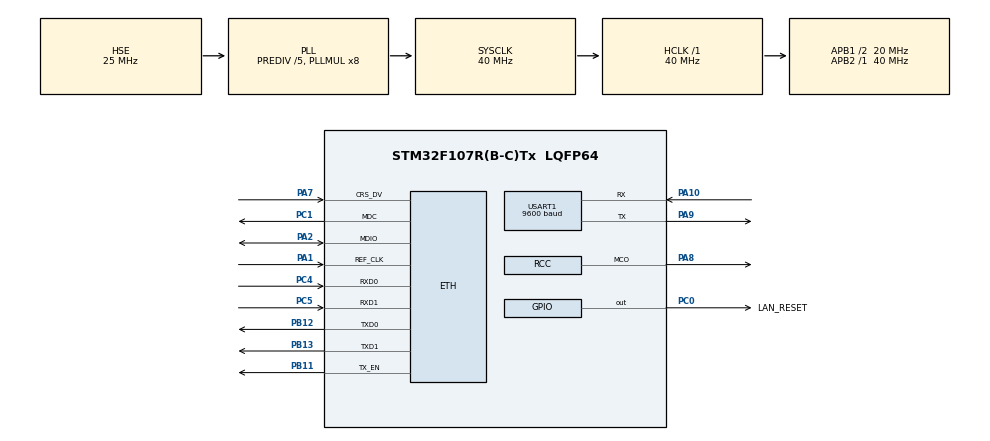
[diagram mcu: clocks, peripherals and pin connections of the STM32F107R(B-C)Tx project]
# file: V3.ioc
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Dma.Request0=USART1_TX
Dma.USART1_TX.0.Direction=DMA_MEMORY_TO_PERIPH
Dma.USART1_TX.0.Instance=DMA1_Channel4
Dma.USART1_TX.0.MemDataAlignment=DMA_MDATAALIGN_BYTE
Dma.USART1_TX.0.MemInc=DMA_MINC_ENABLE
Dma.USART1_TX.0.Mode=DMA_NORMAL
Dma.USART1_TX.0.PeriphDataAlignment=DMA_PDATAALIGN_BYTE
Dma.USART1_TX.0.PeriphInc=DMA_PINC_DISABLE
Dma.USART1_TX.0.Priority=DMA_PRIORITY_LOW
ETH.MACAddr=00\:80\:E1\:00\:00\:CC
ETH.MediaInterface=ETH_MEDIA_INTERFACE_RMII
ETH.PhyAddress=0
FREERTOS.INCLUDE_eTaskGetState=1
FREERTOS.INCLUDE_pcTaskGetTaskName=1
FREERTOS.INCLUDE_uxTaskGetStackHighWaterMark=1
FREERTOS.INCLUDE_vTaskCleanUpResources=1
FREERTOS.INCLUDE_vTaskDelayUntil=1
FREERTOS.INCLUDE_xQueueGetMutexHolder=1
FREERTOS.INCLUDE_xSemaphoreGetMutexHolder=1
FREERTOS.INCLUDE_xTaskAbortDelay=1
FREERTOS.INCLUDE_xTaskGetCurrentTaskHandle=1
FREERTOS.INCLUDE_xTaskGetHandle=1
FREERTOS.Queues01=UART_q,200,uint8_t,0,Dynamic,NULL,NULL;ETH_client_q,16,uint32_t,0,Dynamic,NULL,NULL
FREERTOS.Tasks01=defaultTask,0,128,StartDefaultTask,Default,NULL,Dynamic,NULL,NULL;ETH_epoch_clien,-3,256,ETH_epoch_client_f,Default,NULL,Dynamic,NULL,NULL;UART_task,-3,128,UART_f,Default,NULL,Dynamic,NULL,NULL;ETH_cmd_client_,-3,256,ETH_cmd_client_f,Default,NULL,Dynamic,NULL,NULL
FREERTOS.configTOTAL_HEAP_SIZE=12000
FREERTOS.configUSE_COUNTING_SEMAPHORES=1
FREERTOS.configUSE_RECURSIVE_MUTEXES=1
LWIP.ARP_QUEUEING=1
LWIP.ARP_QUEUE_LEN=0
LWIP.CHECKSUM_GEN_ICMP=1
LWIP.CHECKSUM_GEN_TCP=1
LWIP.CHECKSUM_GEN_UDP=1
LWIP.DEFAULT_RAW_RECVMBOX_SIZE=6
LWIP.GATEWAY_ADDRESS=172.016.001.001
LWIP.IP_ADDRESS=172.016.001.002
LWIP.LWIP_ALLOW_MEM_FREE_FROM_OTHER_CONTEXT=1
LWIP.LWIP_DBG_MIN_LEVEL=LWIP_DBG_LEVEL_ALL
LWIP.LWIP_DHCP=0
LWIP.LWIP_MPU_COMPATIBLE=1
LWIP.LWIP_NETIF_LOOPBACK=1
LWIP.LWIP_TCPIP_CORE_LOCKING=1
LWIP.LWIP_TCPIP_CORE_LOCKING_INPUT=1
LWIP.MEMP_MEM_MALLOC=0
LWIP.MEMP_OVERFLOW_CHECK=1
LWIP.MEMP_SANITY_CHECK=1
LWIP.MEM_LIBC_MALLOC=0
LWIP.MEM_SIZE=1600
LWIP.NETMASK_ADDRESS=255.255.255.000
LWIP.PBUF_POOL_BUFSIZE=1024
LWIP.SLIPIF_THREAD_STACKSIZE=512
LWIP.TCPIP_THREAD_STACKSIZE=512
LWIP.Version=v2.0.0_Cube
Mcu.Family=STM32F1
Mcu.Name=STM32F107R(B-C)Tx
Mcu.Package=LQFP64
NVIC.DMA1_Channel4_IRQn=true\:5\:0\:false\:false\:true\:true\:false\:true
NVIC.ETH_IRQn=true\:5\:0\:false\:false\:true\:true\:false\:true
NVIC.PriorityGroup=NVIC_PRIORITYGROUP_4
NVIC.TIM1_UP_IRQn=true\:0\:0\:false\:false\:true\:false\:false\:true
NVIC.TimeBase=TIM1_UP_IRQn
NVIC.TimeBaseIP=TIM1
NVIC.USART1_IRQn=true\:5\:0\:false\:false\:true\:true\:true\:true
PA1.Mode=RMII
PA1.Signal=ETH_REF_CLK
PA10.Mode=Asynchronous
PA10.Signal=USART1_RX
PA13.Mode=Serial_Wire
PA13.Signal=SYS_JTMS-SWDIO
PA14.Mode=Serial_Wire
PA14.Signal=SYS_JTCK-SWCLK
PA2.Mode=RMII
PA2.Signal=ETH_MDIO
PA7.Mode=RMII
PA7.Signal=ETH_CRS_DV
PA8.Mode=Clock-out
PA8.Signal=RCC_MCO
PA9.Mode=Asynchronous
PA9.Signal=USART1_TX
PB11.Mode=RMII
PB11.Signal=ETH_TX_EN
PB12.Mode=RMII
PB12.Signal=ETH_TXD0
PB13.Mode=RMII
PB13.Signal=ETH_TXD1
PC0.GPIO_Label=LAN_RESET
PC0.GPIO_PuPd=GPIO_PULLUP
PC0.Signal=GPIO_Output
PC1.Mode=RMII
PC1.Signal=ETH_MDC
PC4.Mode=RMII
PC4.Signal=ETH_RXD0
PC5.Mode=RMII
PC5.Signal=ETH_RXD1
PD0-OSC_IN.Mode=HSE-External-Oscillator
PD0-OSC_IN.Signal=RCC_OSC_IN
PD1-OSC_OUT.Mode=HSE-External-Oscillator
PD1-OSC_OUT.Signal=RCC_OSC_OUT
ProjectManager.HeapSize=0x200
ProjectManager.StackSize=0x400
ProjectManager.TargetToolchain=MDK-ARM V5
RCC.AHBFreq_Value=40000000
RCC.APB1CLKDivider=RCC_HCLK_DIV2
RCC.APB1Freq_Value=20000000
RCC.APB1TimFreq_Value=40000000
RCC.APB2Freq_Value=40000000
RCC.APB2TimFreq_Value=40000000
RCC.HCLKFreq_Value=40000000
RCC.HSEDivPLL=RCC_HSE_PREDIV_DIV5
RCC.HSE_VALUE=25000000
RCC.PLLMUL=RCC_PLL_MUL8
RCC.PLLSourceVirtual=RCC_PLLSOURCE_HSE
RCC.RCC_MCOSource=RCC_MCO1SOURCE_HSE
RCC.SYSCLKFreq_VALUE=40000000
RCC.SYSCLKSource=RCC_SYSCLKSOURCE_PLLCLK
RCC.USBFreq_Value=26666666.666666668
USART1.BaudRate=9600
USART1.VirtualMode=VM_ASYNC
VP_CRC_VS_CRC.Mode=CRC_Activate
VP_FREERTOS_VS_CMSIS_V1.Mode=CMSIS_V1
VP_LWIP_VS_Enabled.Mode=Enabled
VP_SYS_VS_tim1.Mode=TIM1
board=custom

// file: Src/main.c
/* USER CODE BEGIN Header */
/**
  ******************************************************************************
  * @file           : main.c
  * @brief          : Main program body
  ******************************************************************************
  * @attention
  *
  * <h2><center>&copy; Copyright (c) 2019 STMicroelectronics.
  * All rights reserved.</center></h2>
  *
  * This software component is licensed by ST under Ultimate Liberty license
  * SLA0044, the "License"; You may not use this file except in compliance with
  * the License. You may obtain a copy of the License at:
  *                             www.st.com/SLA0044
  *
  ******************************************************************************
  */
/* USER CODE END Header */

#include "main.h"
#include "cmsis_os.h"
#include "lwip.h"

/* USER CODE BEGIN Includes */

#include "api.h"
#include "sockets.h"

#include "string_commands_lib.h"
#include "iclisten.h"
/* USER CODE END Includes */

/* USER CODE BEGIN PD */
uint8_t temp_buf[10];
/* USER CODE END PD */

CRC_HandleTypeDef hcrc;

UART_HandleTypeDef huart1;
DMA_HandleTypeDef hdma_usart1_tx;

osThreadId defaultTaskHandle;
osThreadId ETH_epoch_clienHandle;
osThreadId UART_taskHandle;
osThreadId ETH_cmd_client_Handle;
osMessageQId UART_qHandle;
osMessageQId ETH_client_qHandle;

void SystemClock_Config(void);
static void MX_GPIO_Init(void);
static void MX_DMA_Init(void);
static void MX_USART1_UART_Init(void);
static void MX_CRC_Init(void);
void StartDefaultTask(void const * argument);
void ETH_epoch_client_f(void const * argument);
void UART_f(void const * argument);
void ETH_cmd_client_f(void const * argument);

/* USER CODE BEGIN 0 */
extern struct time_message_type time_message;
/* USER CODE END 0 */

int main(void)
{

  /* MCU Configuration--------------------------------------------------------*/

  /* Reset of all peripherals, Initializes the Flash interface and the Systick. */
  HAL_Init();

  /* Configure the system clock */
  SystemClock_Config();

  /* Initialize all configured peripherals */
  MX_GPIO_Init();
  MX_DMA_Init();
  MX_USART1_UART_Init();
  MX_CRC_Init();
  /* USER CODE BEGIN 2 */
	HAL_GPIO_WritePin(LAN_RESET_GPIO_Port, LAN_RESET_Pin, GPIO_PIN_RESET);
	HAL_Delay(1000);
	HAL_GPIO_WritePin(LAN_RESET_GPIO_Port, LAN_RESET_Pin, GPIO_PIN_SET);

  /* USER CODE END 2 */

  /* Create the queue(s) */
  /* definition and creation of UART_q */
  osMessageQDef(UART_q, 200, uint8_t);
  UART_qHandle = osMessageCreate(osMessageQ(UART_q), NULL);

  /* definition and creation of ETH_client_q */
  osMessageQDef(ETH_client_q, 16, uint32_t);
  ETH_client_qHandle = osMessageCreate(osMessageQ(ETH_client_q), NULL);

  /* Create the thread(s) */
  /* definition and creation of defaultTask */
  osThreadDef(defaultTask, StartDefaultTask, osPriorityNormal, 0, 128);
  defaultTaskHandle = osThreadCreate(osThread(defaultTask), NULL);

  /* definition and creation of ETH_epoch_clien */
  osThreadDef(ETH_epoch_clien, ETH_epoch_client_f, osPriorityIdle, 0, 256);
  ETH_epoch_clienHandle = osThreadCreate(osThread(ETH_epoch_clien), NULL);

  /* definition and creation of UART_task */
  osThreadDef(UART_task, UART_f, osPriorityIdle, 0, 128);
  UART_taskHandle = osThreadCreate(osThread(UART_task), NULL);

  /* definition and creation of ETH_cmd_client_ */
  osThreadDef(ETH_cmd_client_, ETH_cmd_client_f, osPriorityIdle, 0, 256);
  ETH_cmd_client_Handle = osThreadCreate(osThread(ETH_cmd_client_), NULL);

  /* Start scheduler */
  osKernelStart();

  /* We should never get here as control is now taken by the scheduler */

  /* Infinite loop */
  while (1)
  {

  }
}

void SystemClock_Config(void)
{
  RCC_OscInitTypeDef RCC_OscInitStruct = {0};
  RCC_ClkInitTypeDef RCC_ClkInitStruct = {0};

  /** Initializes the CPU, AHB and APB busses clocks
  */
  RCC_OscInitStruct.OscillatorType = RCC_OSCILLATORTYPE_HSE;
  RCC_OscInitStruct.HSEState = RCC_HSE_ON;
  RCC_OscInitStruct.HSEPredivValue = RCC_HSE_PREDIV_DIV5;
  RCC_OscInitStruct.HSIState = RCC_HSI_ON;
  RCC_OscInitStruct.Prediv1Source = RCC_PREDIV1_SOURCE_HSE;
  RCC_OscInitStruct.PLL.PLLState = RCC_PLL_ON;
  RCC_OscInitStruct.PLL.PLLSource = RCC_PLLSOURCE_HSE;
  RCC_OscInitStruct.PLL.PLLMUL = RCC_PLL_MUL8;
  RCC_OscInitStruct.PLL2.PLL2State = RCC_PLL_NONE;
  if (HAL_RCC_OscConfig(&RCC_OscInitStruct) != HAL_OK)
  {
    Error_Handler();
  }
  /** Initializes the CPU, AHB and APB busses clocks
  */
  RCC_ClkInitStruct.ClockType = RCC_CLOCKTYPE_HCLK|RCC_CLOCKTYPE_SYSCLK
                              |RCC_CLOCKTYPE_PCLK1|RCC_CLOCKTYPE_PCLK2;
  RCC_ClkInitStruct.SYSCLKSource = RCC_SYSCLKSOURCE_PLLCLK;
  RCC_ClkInitStruct.AHBCLKDivider = RCC_SYSCLK_DIV1;
  RCC_ClkInitStruct.APB1CLKDivider = RCC_HCLK_DIV2;
  RCC_ClkInitStruct.APB2CLKDivider = RCC_HCLK_DIV1;

  if (HAL_RCC_ClockConfig(&RCC_ClkInitStruct, FLASH_LATENCY_1) != HAL_OK)
  {
    Error_Handler();
  }
  HAL_RCC_MCOConfig(RCC_MCO, RCC_MCO1SOURCE_HSE, RCC_MCODIV_1);
  /** Configure the Systick interrupt time
  */
  __HAL_RCC_PLLI2S_ENABLE();
}

static void MX_CRC_Init(void)
{

  hcrc.Instance = CRC;
  if (HAL_CRC_Init(&hcrc) != HAL_OK)
  {
    Error_Handler();
  }

}

static void MX_USART1_UART_Init(void)
{

  huart1.Instance = USART1;
  huart1.Init.BaudRate = 9600;
  huart1.Init.WordLength = UART_WORDLENGTH_8B;
  huart1.Init.StopBits = UART_STOPBITS_1;
  huart1.Init.Parity = UART_PARITY_NONE;
  huart1.Init.Mode = UART_MODE_TX_RX;
  huart1.Init.HwFlowCtl = UART_HWCONTROL_NONE;
  huart1.Init.OverSampling = UART_OVERSAMPLING_16;
  if (HAL_UART_Init(&huart1) != HAL_OK)
  {
    Error_Handler();
  }

}

static void MX_DMA_Init(void)
{
  /* DMA controller clock enable */
  __HAL_RCC_DMA1_CLK_ENABLE();

  /* DMA interrupt init */
  /* DMA1_Channel4_IRQn interrupt configuration */
  HAL_NVIC_SetPriority(DMA1_Channel4_IRQn, 5, 0);
  HAL_NVIC_EnableIRQ(DMA1_Channel4_IRQn);

}

static void MX_GPIO_Init(void)
{
  GPIO_InitTypeDef GPIO_InitStruct = {0};

  /* GPIO Ports Clock Enable */
  __HAL_RCC_GPIOD_CLK_ENABLE();
  __HAL_RCC_GPIOC_CLK_ENABLE();
  __HAL_RCC_GPIOA_CLK_ENABLE();
  __HAL_RCC_GPIOB_CLK_ENABLE();

  /*Configure GPIO pin Output Level */
  HAL_GPIO_WritePin(LAN_RESET_GPIO_Port, LAN_RESET_Pin, GPIO_PIN_RESET);

  /*Configure GPIO pin : LAN_RESET_Pin */
  GPIO_InitStruct.Pin = LAN_RESET_Pin;
  GPIO_InitStruct.Mode = GPIO_MODE_OUTPUT_PP;
  GPIO_InitStruct.Pull = GPIO_PULLUP;
  GPIO_InitStruct.Speed = GPIO_SPEED_FREQ_LOW;
  HAL_GPIO_Init(LAN_RESET_GPIO_Port, &GPIO_InitStruct);

  /*Configure GPIO pin : PA8 */
  GPIO_InitStruct.Pin = GPIO_PIN_8;
  GPIO_InitStruct.Mode = GPIO_MODE_AF_PP;
  GPIO_InitStruct.Speed = GPIO_SPEED_FREQ_LOW;
  HAL_GPIO_Init(GPIOA, &GPIO_InitStruct);

}

/* USER CODE BEGIN 4 */
void HAL_UART_RxCpltCallback(UART_HandleTypeDef *huart)
{
	osMessagePut(UART_qHandle,temp_buf[0],0);
  HAL_UART_Receive_IT(&huart1,temp_buf,1);

}

/* USER CODE END 4 */

void StartDefaultTask(void const * argument)
{
  /* init code for LWIP */
  MX_LWIP_Init();

  for(;;)
  {
    osDelay(1);
  }
}

void ETH_epoch_client_f(void const * argument)
{
  /* USER CODE BEGIN ETH_epoch_client_f */
	struct netconn* conn=netconn_new(NETCONN_TCP);
	ip_addr_t hphone_ip;
	IP4_ADDR(&hphone_ip,172,16,1,1);
	netconn_connect(conn,&hphone_ip,ICLISTEN_EPOCH_TCP_PORT);
	struct netbuf* buf;
	uint8_t str[50];
	uint16_t len;
	err_t recv_err;
  /* Infinite loop */
  for(;;)
  {
     while(1){
     if((recv_err=netconn_recv(conn,&buf))==ERR_OK)
		 {
		   do
			 {
				 netbuf_data(buf,(void**)str,&len);
				 if(check_epoch_message(str,len)) HAL_UART_Transmit_DMA(&huart1,"detected\r\n",10);

		   }while(netbuf_next(buf)>=0);
			 netbuf_delete(buf);
		 }
	 }

  }
  /* USER CODE END ETH_epoch_client_f */
}

void UART_f(void const * argument)
{
  /* USER CODE BEGIN UART_f */
	//HAL_UART_Transmit(&huart1,"start uart\r\n",12,10);

	uint8_t buf;
	osEvent event;
	string_commands_init();
	HAL_UART_Receive_IT(&huart1,temp_buf,1);
  /* Infinite loop */
  for(;;)
  {
    osDelay(1);
		event = osMessageGet(UART_qHandle,0);
		if (event.status == osEventMessage)
	  {
			new_byte_processing((uint8_t)event.value.v);

		}
  }
  /* USER CODE END UART_f */
}

void ETH_cmd_client_f(void const * argument)
{
  /* USER CODE BEGIN ETH_cmd_client_f */
	osEvent event;
	struct netconn* conn;
	ip_addr_t hphone_ip;
	IP4_ADDR(&hphone_ip,172,16,1,1);

  /* Infinite loop */
  for(;;)
  {
    osDelay(1);
		event = osMessageGet(ETH_client_qHandle, 100);
		if (event.status == osEventMessage)
	  {
			conn=netconn_new(NETCONN_TCP);
			prepare_timesync_message(&time_message,(uint32_t)event.value.v);
			netconn_connect(conn,&hphone_ip,ICLISTEN_CMD_TCP_PORT);
			netconn_write(conn,&time_message,sizeof(time_message),NETCONN_COPY);
			netconn_close(conn);
			netconn_delete(conn);
		}

  }
  /* USER CODE END ETH_cmd_client_f */
}

void HAL_TIM_PeriodElapsedCallback(TIM_HandleTypeDef *htim)
{
  if (htim->Instance == TIM1) {
    HAL_IncTick();
  }
}

void Error_Handler(void)
{
}

/************************ (C) COPYRIGHT STMicroelectronics *****END OF FILE****/
